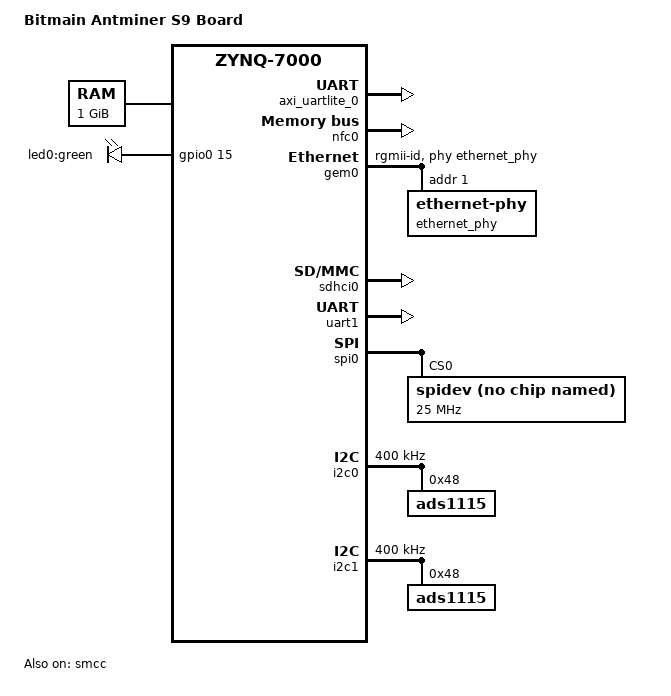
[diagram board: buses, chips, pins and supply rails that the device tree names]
// SPDX-License-Identifier: GPL-2.0
/*
 * Bitmain Antminer S9 board DTS
 *
 * Copyright (C) 2018 Michal Simek
 * Copyright (C) 2018 VanguardiaSur
 */
/dts-v1/;
#include "zynq-7000.dtsi"

/ {
	model = "Bitmain Antminer S9 Board";
	compatible = "bitmain,antminer-s9", "xlnx,zynq-7000";

	aliases {
		ethernet0 = &gem0;
		serial0 = &uart1;
		mmc0 = &sdhci0;
		gpio0 = &gpio0;
	};

	memory@0 {
		device_type = "memory";
		reg = <0x0 0x40000000>;
	};

	reserved-memory {
		#address-cells = <1>;
		#size-cells = <1>;
		ranges;

		bootcount@efffff0 {
			reg = <0xefffff0 0x10>;
			no-map;
		};

		fpga_space@f000000 {
			reg = <0xf000000 0x1000000>;
			no-map;
		};
	};

	chosen {
		bootargs = "earlycon";
		stdout-path = "serial0:115200n8";
	};

	leds {
		compatible = "gpio-leds";
		led0 {
			label = "led0:green";
			gpios = <&gpio0 15 0>;
			linux,default-trigger = "heartbeat";
		};
	};

	fpga_axi: fpga-axi@0 {
		compatible = "simple-bus";
		#address-cells = <0x1>;
		#size-cells = <0x1>;
		ranges;

		axi_uartlite_0:	serial@42C00000 {
			compatible = "xlnx,xps-uartlite-1.00.a";
			reg = <0x42C00000 0x10000>;
			interrupt-parent = <&intc>;
			interrupts = <0 29 4>;
			clock = <50000000>;
		};
	};
};

&clkc {
	ps-clk-frequency = <33333333>;
};

&nfc0 {
	status = "okay";
};

&smcc {
	status = "okay";
};

&gem0 {
	status = "okay";
	phy-mode = "rgmii-id";
	xlnx,ptp-enet-clock = <0x69f6bcb>;
	phy-handle = <&ethernet_phy>;

	/* 0362/5e62 */
	ethernet_phy: ethernet-phy@1 {
		reg = <1>;
	};
};

&sdhci0 {
	u-boot,dm-pre-reloc;
	status = "okay";
	disable-wp;
};

&uart1 {
	u-boot,dm-pre-reloc;
	status = "okay";
};

&spi0 {
    #address-cells=<1>;     
    #size-cells=<0>;	
    status = "okay";	
    num-cs = <1>;
    bus-num = <0>;
    is-decoded-cs = <0>;
	
    spidev@0x00 {
        //compatible = "spidev";
        compatible = "rohm,dh2228fv";
	
        /* Max SPI clock frequency via Zynq EMIO is 25MHz */	
        spi-max-frequency = <25000000>;

        /* slave number - CS */
        reg = <0>;

        /* Set SPI mode = 0 */		
        spi-cpol = <0>;	
        spi-cpha = <0>;
    };
};

&i2c0 {
	status = "okay";
	clock-frequency = <400000>;

        ads1115@48{
           compatible = "ads1115";
           reg = <0x48>;
        };
};

&i2c1 {
	status = "okay";
	clock-frequency = <400000>;

        ads1115@48{
           compatible = "ads1115";
           reg = <0x48>;
        };
};

